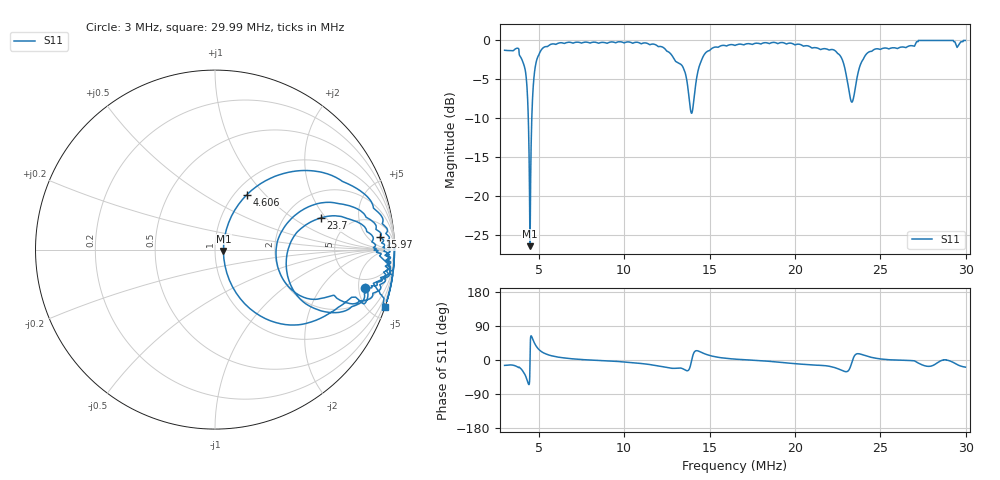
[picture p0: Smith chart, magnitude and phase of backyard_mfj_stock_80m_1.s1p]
! Touchstone file generated by AntScope2
# MHz Z RI R 50
! Format: Frequency Z-real Z-imaginary (normalized to 50 Ohm)
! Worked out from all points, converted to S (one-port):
!   2000 points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, 3 MHz to 29.99 MHz, reference 50 ohm
!   lowest |S11| = -26.5 dB at 4.485 MHz (marker M1), VSWR 1.10, Z = 54.9 - j0.9 ohm
!   |S11| at or under -10 dB: 4.387 MHz to 4.592 MHz (204.4 kHz wide, 4.55 % of centre)
!   S11 on the Smith chart (normalised r, x): 3 MHz: 3.53, -5.96; 4.606 MHz: 1.14, +0.79; 15.97 MHz: 13, +13; 23.7 MHz: 3.12, +1.78; 29.99 MHz: 0.00, -6.05
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3  3.533 -5.956
3.7155  2.249 -5.749
4.134  1.567 -2.349
4.3095  1.177 -1.253
4.485  1.098 -0.018
4.6065  1.136 0.795
4.782  1.248 1.959
5.187  1.676 4.775
6.375  5.616 16.98
9.75  6.951 -25.43
11.775  1.869 -7.843
13.125  2.715 -2.972
13.6515  2.112 -1.681
13.962  2.033 0.0124
14.4075  2.598 2.59
14.907  3.987 5.855
15.9735  13.15 12.53
16.5  20.96 11.31
19.875  3.536 -11.56
22.278  2.113 -4.994
22.872  1.871 -2.532
23.25  2.187 -0.7064
23.6955  3.115 1.776
24.6675  10.29 7.163
26.625  21.66 -4.946
27.84  0 -6.772
28.839  0 200
29.9865  0 -6.049
